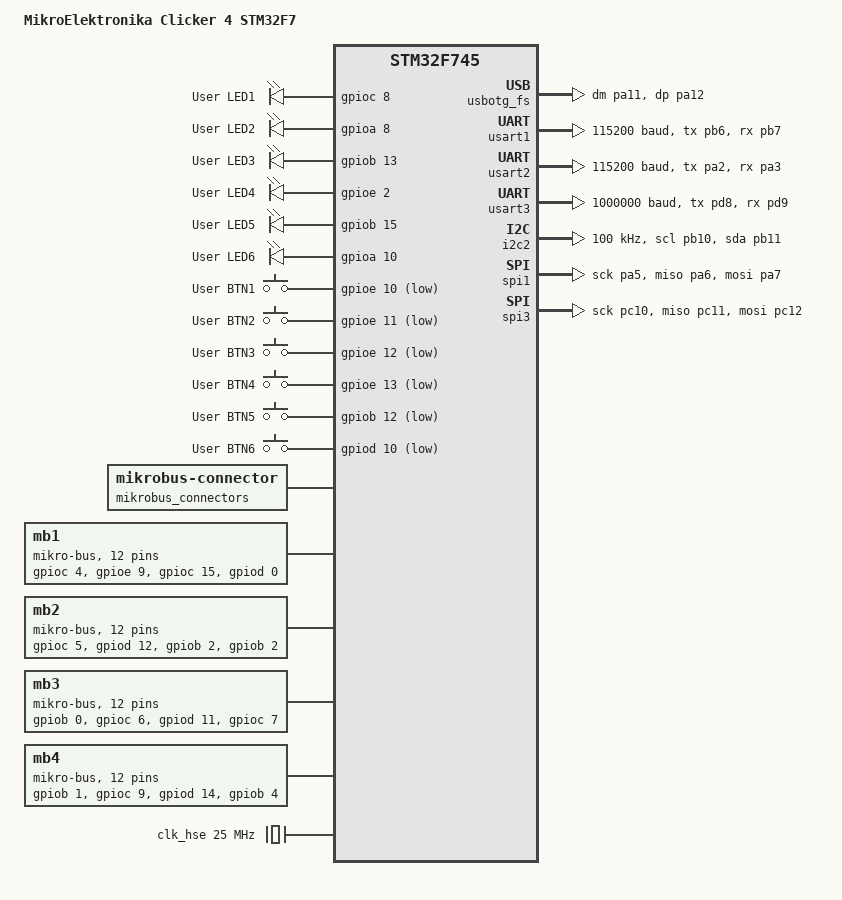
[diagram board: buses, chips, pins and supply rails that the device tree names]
/*
 * Copyright (c) 2024 Your Name
 * SPDX-License-Identifier: Apache-2.0
 */

/dts-v1/;
#include <st/f7/stm32f745Xg.dtsi>
#include <st/f7/stm32f745v(e-g)tx-pinctrl.dtsi>
#include <zephyr/dt-bindings/input/input-event-codes.h>

/ {
    model = "MikroElektronika Clicker 4 STM32F7";
    compatible = "mikroe,clicker4-stm32f7", "st,stm32f745";

    chosen {
        //zephyr,console = &usart1;
        //zephyr,shell-uart = &usart1;
        zephyr,sram = &sram0;
        zephyr,flash = &flash0;
        zephyr,code-partition = &slot0_partition;
    };
    aliases {
        led0 = &led1;
    };
    leds {
        compatible = "gpio-leds";
        led1: led_1 {
            gpios = <&gpioc 8 GPIO_ACTIVE_HIGH>;
            label = "User LED1";
        };
        led2: led_2 {
            gpios = <&gpioa 8 GPIO_ACTIVE_HIGH>;
            label = "User LED2";
        };
        led3: led_3 {
            gpios = <&gpiob 13 GPIO_ACTIVE_HIGH>;
            label = "User LED3";
        };
        led4: led_4 {
            gpios = <&gpioe 2 GPIO_ACTIVE_HIGH>;
            label = "User LED4";
        };
        led5: led_5 {
            gpios = <&gpiob 15 GPIO_ACTIVE_HIGH>;
            label = "User LED5";
        };
        led6: led_6 {
            gpios = <&gpioa 10 GPIO_ACTIVE_HIGH>;
            label = "User LED6";
        };
    };

    gpio_keys {
        compatible = "gpio-keys";
        button1: button_1 {
            label = "User BTN1";
            gpios = <&gpioe 10 (GPIO_ACTIVE_LOW | GPIO_PULL_UP)>;
            zephyr,code = <INPUT_KEY_0>;
        };
        button2: button_2 {
            label = "User BTN2";
            gpios = <&gpioe 11 (GPIO_ACTIVE_LOW | GPIO_PULL_UP)>;
            zephyr,code = <INPUT_KEY_1>;
        };
        button3: button_3 {
            label = "User BTN3";
            gpios = <&gpioe 12 (GPIO_ACTIVE_LOW | GPIO_PULL_UP)>;
            zephyr,code = <INPUT_KEY_2>;
        };
        button4: button_4 {
            label = "User BTN4";
            gpios = <&gpioe 13 (GPIO_ACTIVE_LOW | GPIO_PULL_UP)>;
            zephyr,code = <INPUT_KEY_3>;
        };
        button5: button_5 {
            label = "User BTN5";
            gpios = <&gpiob 12 (GPIO_ACTIVE_LOW | GPIO_PULL_UP)>;
            zephyr,code = <INPUT_KEY_4>;
        };
        button6: button_6 {
            label = "User BTN6";
            gpios = <&gpiod 10 (GPIO_ACTIVE_LOW | GPIO_PULL_UP)>;
            zephyr,code = <INPUT_KEY_5>;
        };
    };

    mikrobus_connectors {
        compatible = "mikrobus-connector";
        #address-cells = <1>;
        #size-cells = <0>;

        mikrobus1: connector@0 {
            reg = <0>;
            label = "MikroBUS 1";
        };

        mikrobus2: connector@1 {
            reg = <1>;
            label = "MikroBUS 2";
        };

        mikrobus3: connector@2 {
            reg = <2>;
            label = "MikroBUS 3";
        };

        mikrobus4: connector@3 {
            reg = <3>;
            label = "MikroBUS 4";
        };
    };


    connectors {
        /* Positions (standard mikroBUS):
        *  0 AN, 1 RST, 2 CS, 3 SCK, 4 MISO, 5 MOSI,
        * 11 SDA, 12 SCL, 13 TX, 14 RX, 15 INT, 16 PWM
        */
        mb1: mikrobus_1 {
            compatible = "mikro-bus";
            #gpio-cells = <2>;
            gpio-map-mask = <0xffffffff 0xffffffc0>;
            gpio-map-pass-thru = <0 0x3f>;
            gpio-map =
                < 0 0 &gpioc  4 0>,  <16 0 &gpioe  9 0>,   /* AN  PC4 | PWM PE9  */
                < 1 0 &gpioc 15 0>,  <15 0 &gpiod  0 0>,   /* RST PC15| INT PD0  */
                < 2 0 &gpioa  4 0>,  <14 0 &gpioa  3 0>,   /* CS  PA4 | RX  PA3  */
                < 3 0 &gpioa  5 0>,  <13 0 &gpioa  2 0>,   /* SCK PA5 | TX  PA2  */
                < 4 0 &gpioa  6 0>,  <12 0 &gpiob 10 0>,   /* MISO PA6| SCL PB10 */
                < 5 0 &gpioa  7 0>,  <11 0 &gpiob 11 0>;   /* MOSI PA7| SDA PB11 */
        };

        mb2: mikrobus_2 {
            compatible = "mikro-bus";
            #gpio-cells = <2>;
            gpio-map-mask = <0xffffffff 0xffffffc0>;
            gpio-map-pass-thru = <0 0x3f>;
            gpio-map =
                < 0 0 &gpioc  5 0>,  <16 0 &gpiod 12 0>,   /* AN  PC5 | PWM PD12 */
                < 1 0 &gpiob  2 0>,  <15 0 &gpiob  2 0>,   /* RST PB2 | INT PB2* */
                < 2 0 &gpiod 13 0>,  <14 0 &gpiob  7 0>,   /* CS  PD13| RX  PB7  */
                < 3 0 &gpioa  5 0>,  <13 0 &gpiob  6 0>,   /* SCK PA5 | TX  PB6  */
                < 4 0 &gpioa  6 0>,  <12 0 &gpiob 10 0>,   /* MISO PA6| SCL PB10 */
                < 5 0 &gpioa  7 0>,  <11 0 &gpiob 11 0>;   /* MOSI PA7| SDA PB11 */
            /* *INT on PB2 matches the board drawing. If your card needs a distinct
            * INT pin, move it here and your overlay won’t change. */
        };

        mb3: mikrobus_3 {
            compatible = "mikro-bus";
            #gpio-cells = <2>;
            gpio-map-mask = <0xffffffff 0xffffffc0>;
            gpio-map-pass-thru = <0 0x3f>;
            gpio-map =
                < 0 0 &gpiob  0 0>,  <16 0 &gpioc  6 0>,   /* AN  PB0 | PWM PC6  */
                < 1 0 &gpiod 11 0>,  <15 0 &gpioc  7 0>,   /* RST PD11| INT PC7  */
                < 2 0 &gpiod 13 0>,  <14 0 &gpioe  7 0>,   /* CS  PD13| RX  PE7  */
                < 3 0 &gpioa  5 0>,  <13 0 &gpiob  6 0>,   /* SCK PA5 | TX  PB6  */
                < 4 0 &gpioa  6 0>,  <12 0 &gpiob 10 0>,   /* MISO PA6| SCL PB10 */
                < 5 0 &gpioa  7 0>,  <11 0 &gpiob 11 0>;   /* MOSI PA7| SDA PB11 */
        };

        mb4: mikrobus_4 {
            compatible = "mikro-bus";
            #gpio-cells = <2>;
            gpio-map-mask = <0xffffffff 0xffffffc0>;
            gpio-map-pass-thru = <0 0x3f>;
            gpio-map =
                < 0 0 &gpiob  1 0>,  <16 0 &gpioc  9 0>,   /* AN  PB1 | PWM PC9  */
                < 1 0 &gpiod 14 0>,  <15 0 &gpiob  4 0>,   /* RST PD14| INT PB4  */
                < 2 0 &gpiod 15 0>,  <14 0 &gpiod  9 0>,   /* CS  PD15| RX  PD9  */
                < 3 0 &gpioc 10 0>,  <13 0 &gpiod  8 0>,   /* SCK PC10| TX  PD8  */
                < 4 0 &gpioc 11 0>,  <12 0 &gpiob 10 0>,   /* MISO PC11| SCL PB10*/
                < 5 0 &gpioc 12 0>,  <11 0 &gpiob 11 0>;   /* MOSI PC12| SDA PB11*/
        };
    };
};

/* CN1: OTG FS on PA11/PA12, VBUS sense on PA9 */
&usbotg_fs {
    status = "okay";
    pinctrl-names = "default";
    /* if your pinctrl header has vbus, keep it; otherwise drop that phandle */
    pinctrl-0 = <&usb_otg_fs_dm_pa11 &usb_otg_fs_dp_pa12 &usb_otg_fs_vbus_pa9>;

    zephyr_udc0: usb_device {
        compatible = "zephyr,usb-device";
        status = "okay";

        cdc_acm_uart0: cdc_acm_uart0 {
            compatible = "zephyr,cdc-acm-uart";
            label = "CDC_ACM_0";
            status = "okay";
        };
    };
};

&clk_hse {
    clock-frequency = <DT_FREQ_M(25)>;  /* 25MHz external crystal */
    status = "okay";
};

&pll {
    div-m = <25>;
    mul-n = <336>;
    div-p = <2>;    /* PLLP: 336/2 = 168MHz (SYSCLK) */
    div-q = <7>;    /* PLLQ: 336/7 = 48MHz (USB, SDMMC) */
    clocks = <&clk_hse>;
    status = "okay";
};

&rcc {
    clocks = <&pll>;
    clock-frequency = <DT_FREQ_M(168)>;
    ahb-prescaler = <1>;  /* HCLK = SYSCLK = 168MHz */
    apb1-prescaler = <4>; /* PCLK1 = HCLK/4 = 42MHz */
    apb2-prescaler = <2>; /* PCLK2 = HCLK/2 = 84MHz */
};

&flash0 {
    partitions {
        compatible = "fixed-partitions";
        #address-cells = <1>;
        #size-cells = <1>;

        boot_partition: partition@0 {
            label = "mcuboot";
            reg = <0x00000000 DT_SIZE_K(64)>;
            read-only;
        };

        slot0_partition: partition@10000 {
            label = "image-0";
            reg = <0x00010000 DT_SIZE_K(512)>;
        };

        slot1_partition: partition@90000 {
            label = "image-1";
            reg = <0x00090000 DT_SIZE_K(448)>;
        };

        storage_partition: partition@100000 {
            label = "storage";
            reg = <0x00100000 DT_SIZE_K(64)>;
        };
    };
};

/* USB OTG FS */
&usbotg_fs {
    pinctrl-0 = <&usb_otg_fs_dm_pa11 &usb_otg_fs_dp_pa12>;
    pinctrl-names = "default";
    status = "okay";
};

/* UART1 (Console) - Connected to ST-Link VCP, is labelled UART3 on board for some reason*/
&usart1 {
	pinctrl-0 = <&usart1_tx_pb6 &usart1_rx_pb7>;
	pinctrl-names = "default";
	current-speed = <115200>;
	status = "okay";
}; // MB2

/* UART2 - Available on headers, labelled UART2 on board*/
&usart2 {
    pinctrl-0 = <&usart2_tx_pa2 &usart2_rx_pa3>;
    pinctrl-names = "default";
    current-speed = <115200>;
    status = "okay";
};

&usart3 {
    status = "okay";
    pinctrl-0 = <&usart3_tx_pd8 &usart3_rx_pd9>;
    pinctrl-names = "default";
    current-speed = <1000000>;
};

/* I2C2 - Shared across mikroBUS sockets */
&i2c2 {
    pinctrl-0 = <&i2c2_scl_pb10 &i2c2_sda_pb11>;
    pinctrl-names = "default";
    clock-frequency = <I2C_BITRATE_STANDARD>;
    status = "okay";
};

/* SPI1 - mikroBUS 1-3 */
&spi1 {
    pinctrl-0 = <&spi1_sck_pa5 &spi1_miso_pa6 &spi1_mosi_pa7>;
    //cs-gpios = <&gpiod 13 GPIO_ACTIVE_LOW>;
    pinctrl-names = "default";
    status = "okay";
};

/* SPI3 - mikroBUS 4 */
&spi3 {
    pinctrl-0 = <&spi3_sck_pc10 &spi3_miso_pc11 &spi3_mosi_pc12>;
    pinctrl-names = "default";
    cs-gpios = <&gpiod 15 GPIO_ACTIVE_LOW>;
    status = "okay";
};
